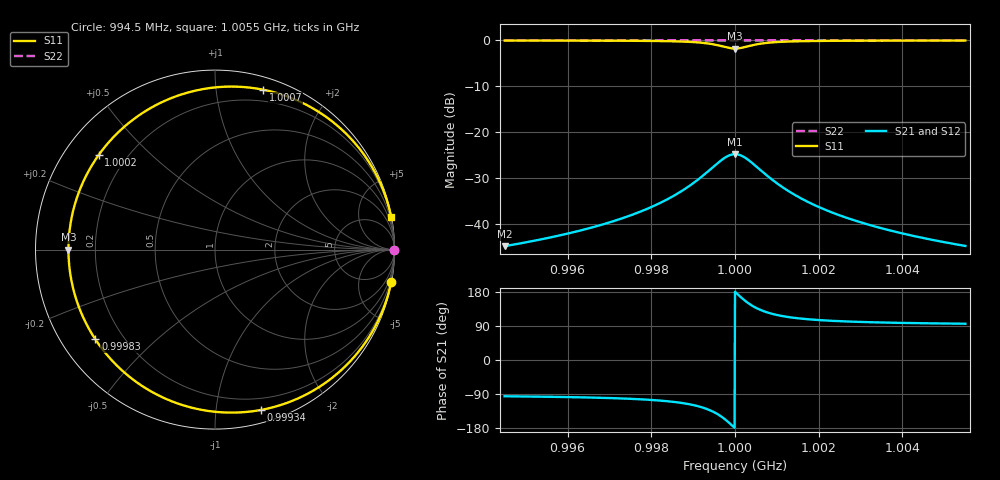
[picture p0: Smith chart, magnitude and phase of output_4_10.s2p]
! File generated for n1 = 4, n2 = 10
! b1 = 10.000000
! b2 = 0.010000
! Q0 = 10000.000000
! f0 = 1000000000.000000
! n = 1001
! rel_span = 10.000000
# Hz S RI R 50
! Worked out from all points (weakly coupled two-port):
!   1001 points, 994.5 MHz to 1.0055 GHz, reference 50 ohm
!   highest |S21| = -24.82 dB at 1 GHz (marker M1); lowest = -44.9 dB at 994.5 MHz (marker M2)
!   lowest |S11| = -1.8 dB at 1 GHz (marker M3), VSWR 9.90, Z = 5.05 + j0 ohm
!   |S11| at or under -10 dB: nowhere
!   |S22| runs from 0.0 to 0.0 dB; largest |S21 - S12| = 0
!   S11 on the Smith chart (normalised r, x): 994.5 MHz: 0, -11; 999.34 MHz: 0.10, -1.32; 999.83 MHz: 0.10, -0.33; 1.0002 GHz: 0.10, +0.35; 1.0007 GHz: 0.10, +1.34; 1.0055 GHz: 0, +11
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9.94495e8  0.9821 -0.1794  -0.000566 -0.00567  -0.000566 -0.00567  1 -0.000179
9.963337e8  0.9601 -0.2663  -0.00126 -0.00842  -0.00126 -0.00842  1 -0.000266
9.973796e8  0.9234 -0.3651  -0.00242 -0.0115  -0.00242 -0.0115  0.9999 -0.000365
9.981723e8  0.8492 -0.5013  -0.00477 -0.0159  -0.00477 -0.0159  0.9998 -0.000501
9.98877e8  0.6484 -0.7177  -0.0111 -0.0227  -0.0111 -0.0227  0.9996 -0.000718
9.991302e8  0.4808 -0.8207  -0.0164 -0.026  -0.0164 -0.026  0.9995 -0.000821
9.993394e8  0.2558 -0.8933  -0.0235 -0.0282  -0.0235 -0.0282  0.9993 -0.000893
9.996146e8  -0.219 -0.8535  -0.0385 -0.027  -0.0385 -0.027  0.9988 -0.000853
9.997248e8  -0.4531 -0.7267  -0.046 -0.023  -0.046 -0.023  0.9985 -0.000727
9.998348e8  -0.6665 -0.5  -0.0527 -0.0158  -0.0527 -0.0158  0.9983 -0.0005
1e9  -0.8165 0  -0.0574 0  -0.0574 0  0.9982 0
1.000088e9  -0.7712 0.2834  -0.056 0.00896  -0.056 0.00896  0.9982 0.000283
1.000176e9  -0.6478 0.5273  -0.0521 0.0167  -0.0521 0.0167  0.9984 0.000527
1.000275e9  -0.4533 0.7266  -0.046 0.023  -0.046 0.023  0.9985 0.000727
1.000385e9  -0.2193 0.8533  -0.0386 0.027  -0.0386 0.027  0.9988 0.000853
1.000506e9  0.0159 0.9051  -0.0311 0.0286  -0.0311 0.0286  0.999 0.000905
1.000672e9  0.2697 0.8907  -0.0231 0.0282  -0.0231 0.0282  0.9993 0.000891
1.000881e9  0.4894 0.8166  -0.0161 0.0258  -0.0161 0.0258  0.9995 0.000817
1.001134e9  0.6533 0.7139  -0.011 0.0226  -0.011 0.0226  0.9997 0.000714
1.001839e9  0.8503 0.4995  -0.00473 0.0158  -0.00473 0.0158  0.9999 0.0005
1.003677e9  0.96 0.2664  -0.00126 0.00843  -0.00126 0.00843  1 0.000266
1.005505e9  0.9819 0.1803  -0.000572 0.0057  -0.000572 0.0057  1 0.00018
